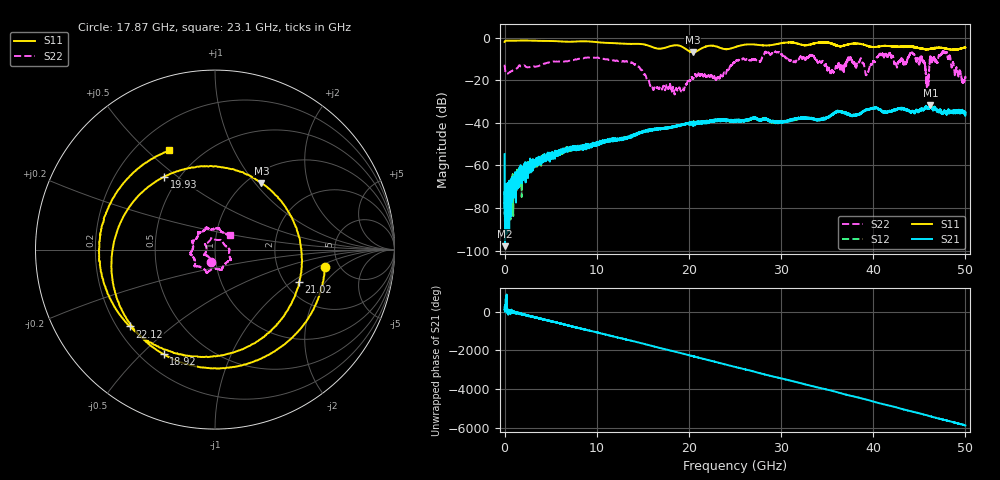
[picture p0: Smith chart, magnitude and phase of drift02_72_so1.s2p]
!Created with skrf (http://scikit-rf.org).
# Hz S RI R 50.0
!freq ReS11 ImS11 ReS21 ImS21 ReS12 ImS12 ReS22 ImS22
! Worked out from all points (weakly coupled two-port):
!   10001 points, 300 kHz to 50 GHz, reference 50 ohm
!   highest |S21| = -31.66 dB at 46.21 GHz (marker M1); lowest = -97.9 dB at 45.3 MHz (marker M2)
!   lowest |S11| = -6.9 dB at 20.43 GHz (marker M3), VSWR 2.64, Z = 58 + j53.8 ohm
!   |S11| at or under -10 dB: nowhere
!   |S22| runs from -26.6 to -6.4 dB; largest |S21 - S12| = 0.0031
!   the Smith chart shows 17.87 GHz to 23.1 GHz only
!   S11 on the Smith chart (normalised r, x): 17.87 GHz: 3.87, -1.21; 18.92 GHz: 0.29, -0.59; 19.93 GHz: 0.42, +0.45; 21.02 GHz: 2.37, -1.15; 22.12 GHz: 0.25, -0.36; 23.1 GHz: 0.33, +0.59
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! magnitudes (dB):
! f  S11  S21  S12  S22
! 300 kHz  -2.1  -54.7  -72.0  -12.7
! 45.3 MHz  -1.7  -97.9  -78.5  -14.7
! 255.3 MHz  -1.4  -72.7  -79.4  -17.0
! 2.59 GHz  -1.4  -61.0  -61.1  -13.9
! 8.335 GHz  -1.7  -51.3  -51.1  -9.7
! 13.7 GHz  -2.9  -46.5  -46.2  -11.7
! 16.67 GHz  -5.2  -43.0  -43.1  -23.7
! 17.87 GHz  -4.1  -41.9  -42.5  -22.6
! 18.92 GHz  -3.7  -41.3  -41.3  -23.7
! 19.93 GHz  -6.1  -40.5  -40.2  -19.7
! 20.43 GHz  -6.9  -40.0  -40.0  -19.3
! 21.02 GHz  -6.0  -39.8  -39.9  -16.8
! 22.12 GHz  -3.9  -39.4  -39.8  -17.6
! 23.1 GHz  -4.3  -38.4  -38.8  -18.8
! 25 GHz  -4.5  -39.0  -39.1  -11.5
! 33.34 GHz  -3.0  -38.2  -38.1  -8.4
! 39.32 GHz  -3.8  -34.0  -33.8  -17.1
! 41.67 GHz  -4.0  -34.6  -34.7  -7.8
! 45.85 GHz  -5.5  -32.7  -32.9  -19.7
! 46.21 GHz  -5.4  -31.7  -31.6  -8.4
! 47.77 GHz  -5.1  -35.0  -35.0  -6.9
! 50 GHz  -4.7  -35.1  -35.8  -18.6
